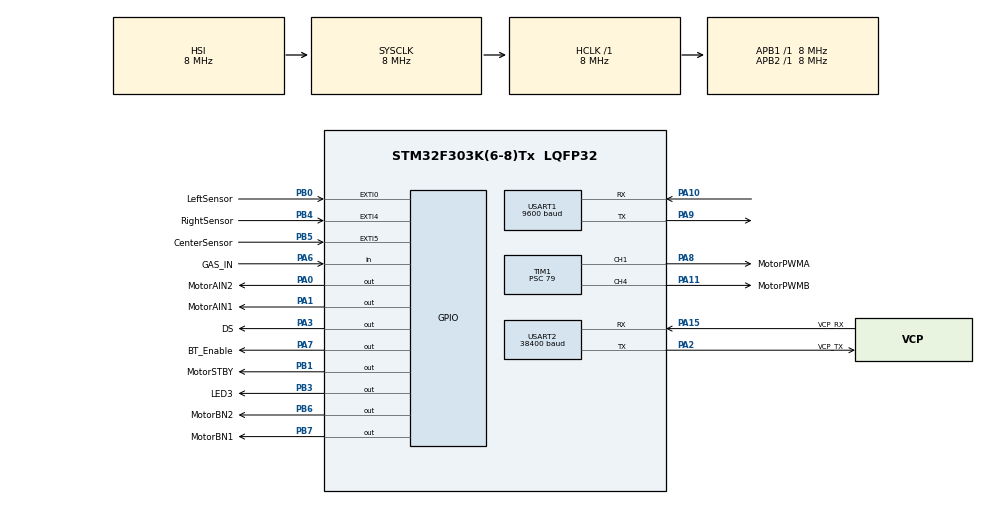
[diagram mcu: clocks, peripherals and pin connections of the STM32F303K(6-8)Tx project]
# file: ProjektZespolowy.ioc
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Dma.Request0=USART1_RX
Dma.USART1_RX.0.Direction=DMA_PERIPH_TO_MEMORY
Dma.USART1_RX.0.Instance=DMA1_Channel5
Dma.USART1_RX.0.MemDataAlignment=DMA_MDATAALIGN_BYTE
Dma.USART1_RX.0.MemInc=DMA_MINC_ENABLE
Dma.USART1_RX.0.Mode=DMA_NORMAL
Dma.USART1_RX.0.PeriphDataAlignment=DMA_PDATAALIGN_BYTE
Dma.USART1_RX.0.PeriphInc=DMA_PINC_DISABLE
Dma.USART1_RX.0.Priority=DMA_PRIORITY_LOW
Mcu.Family=STM32F3
Mcu.Name=STM32F303K(6-8)Tx
Mcu.Package=LQFP32
NVIC.DMA1_Channel5_IRQn=true\:0\:0\:false\:false\:true\:false\:true
NVIC.EXTI0_IRQn=true\:0\:0\:false\:false\:true\:true\:true
NVIC.EXTI4_IRQn=true\:0\:0\:false\:false\:true\:true\:true
NVIC.EXTI9_5_IRQn=true\:0\:0\:false\:false\:true\:true\:true
NVIC.PriorityGroup=NVIC_PRIORITYGROUP_4
NVIC.USART1_IRQn=true\:0\:0\:false\:false\:true\:true\:true
PA0.GPIO_Label=MotorAIN2
PA0.Signal=GPIO_Output
PA1.GPIO_Label=MotorAIN1
PA1.Signal=GPIO_Output
PA10.Mode=Asynchronous
PA10.Signal=USART1_RX
PA11.GPIO_Label=MotorPWMB
PA11.Signal=S_TIM1_CH4
PA13.GPIO_Label=SWDIO
PA13.Mode=Serial_Wire
PA13.Signal=SYS_JTMS-SWDIO
PA14.GPIO_Label=SWCLK
PA14.Mode=Serial_Wire
PA14.Signal=SYS_JTCK-SWCLK
PA15.GPIO_Label=VCP_RX
PA15.Mode=Asynchronous
PA15.Signal=USART2_RX
PA2.GPIO_Label=VCP_TX
PA2.Mode=Asynchronous
PA2.Signal=USART2_TX
PA3.GPIO_Label=DS
PA3.GPIO_ModeDefaultOutputPP=GPIO_MODE_OUTPUT_OD
PA3.PinState=GPIO_PIN_SET
PA3.Signal=GPIO_Output
PA6.GPIO_Label=GAS_IN
PA6.Signal=GPIO_Input
PA7.GPIO_Label=BT_Enable
PA7.GPIO_PuPd=GPIO_PULLUP
PA7.Signal=GPIO_Output
PA8.GPIO_Label=MotorPWMA
PA8.Signal=S_TIM1_CH1
PA9.Mode=Asynchronous
PA9.Signal=USART1_TX
PB0.GPIO_Label=LeftSensor
PB0.GPIO_ModeDefaultEXTI=GPIO_MODE_IT_FALLING
PB0.Signal=GPXTI0
PB1.GPIO_Label=MotorSTBY
PB1.Signal=GPIO_Output
PB3.GPIO_Label=LED3
PB3.Signal=GPIO_Output
PB4.GPIO_Label=RightSensor
PB4.GPIO_ModeDefaultEXTI=GPIO_MODE_IT_FALLING
PB4.Signal=GPXTI4
PB5.GPIO_Label=CenterSensor
PB5.GPIO_ModeDefaultEXTI=GPIO_MODE_IT_FALLING
PB5.Signal=GPXTI5
PB6.GPIO_Label=MotorBN2
PB6.Signal=GPIO_Output
PB7.GPIO_Label=MotorBN1
PB7.Signal=GPIO_Output
PF0\ /\ OSC_IN.GPIO_Label=MCO
PF0\ /\ OSC_IN.Mode=HSE-External-Clock-Source
PF0\ /\ OSC_IN.Signal=RCC_OSC_IN
ProjectManager.HeapSize=0x200
ProjectManager.StackSize=0x400
ProjectManager.TargetToolchain=STM32CubeIDE
RCC.AHBFreq_Value=8000000
RCC.APB1Freq_Value=8000000
RCC.APB2Freq_Value=8000000
RCC.CortexFreq_Value=8000000
RCC.HSE_VALUE=8000000
RCC.HSI_VALUE=8000000
RCC.SYSCLKFreq_VALUE=8000000
SH.S_TIM1_CH1.0=TIM1_CH1,PWM Generation1 CH1
SH.S_TIM1_CH4.0=TIM1_CH4,PWM Generation4 CH4
TIM1.Channel-PWM\ Generation1\ CH1=TIM_CHANNEL_1
TIM1.Channel-PWM\ Generation4\ CH4=TIM_CHANNEL_4
TIM1.Period=999
TIM1.Prescaler=79
TIM6.Period=0
TIM6.Prescaler=7
USART1.BaudRate=9600
USART1.VirtualMode-Asynchronous=VM_ASYNC
USART2.BaudRate=38400
USART2.VirtualMode-Asynchronous=VM_ASYNC
VP_TIM1_VS_ClockSourceINT.Mode=Internal
VP_TIM6_VS_ClockSourceINT.Mode=Enable_Timer
board=NUCLEO-F303K8

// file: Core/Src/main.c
/* USER CODE BEGIN Header */
/**
 ******************************************************************************
 * @file           : main.c
 * @brief          : Main program body
 ******************************************************************************
 * @attention
 *
 * <h2><center>&copy; Copyright (c) 2022 STMicroelectronics.
 * All rights reserved.</center></h2>
 *
 * This software component is licensed by ST under BSD 3-Clause license,
 * the "License"; You may not use this file except in compliance with the
 * License. You may obtain a copy of the License at:
 *                        opensource.org/licenses/BSD-3-Clause
 *
 ******************************************************************************
 */
/* USER CODE END Header */
#include "main.h"

/* USER CODE BEGIN Includes */
#include <stdio.h>
#include <stdlib.h>
#include <string.h>
#include "ds18b20.h"
/* USER CODE END Includes */

/* USER CODE BEGIN PTD */
#define BUFFER_LEN  1
/* USER CODE END PTD */

TIM_HandleTypeDef htim1;
TIM_HandleTypeDef htim6;

UART_HandleTypeDef huart1;
UART_HandleTypeDef huart2;
DMA_HandleTypeDef hdma_usart1_rx;

/* USER CODE BEGIN PV */
volatile int interruptFlag = 0;
volatile int interruptFlagUART = 0;
volatile int pwm_duty = 0;
volatile uint8_t direct = 0;
volatile unsigned int speed = 300;
uint8_t RX_BUFFER[BUFFER_LEN + 1] = { 0 };
float temp;
/* USER CODE END PV */

void SystemClock_Config(void);
static void MX_GPIO_Init(void);
static void MX_DMA_Init(void);
static void MX_USART2_UART_Init(void);
static void MX_TIM1_Init(void);
static void MX_USART1_UART_Init(void);
static void MX_TIM6_Init(void);

/* USER CODE BEGIN 0 */
int _write(int file, char *ptr, int len) {

	HAL_UART_Transmit(&huart2, (uint8_t*) ptr, len, 50);
	return len;
}

void HAL_GPIO_EXTI_Callback(uint16_t GPIO_Pin) {
	if (GPIO_Pin == LeftSensor_Pin || GPIO_Pin == CenterSensor_Pin
			|| GPIO_Pin == RightSensor_Pin) {
		interruptFlag = 1;
	}
}

void HAL_UART_RxCpltCallback(UART_HandleTypeDef *huart) {
	if (huart->Instance == huart1.Instance) {
		interruptFlagUART = 1;
		direct = RX_BUFFER[0];
//		speed = atoi((char*)&RX_BUFFER[2]);
		speed = 200;

		HAL_UART_Receive_DMA(&huart1, RX_BUFFER, BUFFER_LEN);
	}
}

void MotorControler(uint Motor_AIN1, uint Motor_AIN2, uint Motor_BIN1,
		uint Motor_BIN2, int PWMA, int PWMB) {
	HAL_GPIO_WritePin(MotorSTBY_GPIO_Port, MotorSTBY_Pin, GPIO_PIN_SET);
	HAL_GPIO_WritePin(MotorAIN2_GPIO_Port, MotorAIN2_Pin, Motor_AIN2);
	HAL_GPIO_WritePin(MotorAIN1_GPIO_Port, MotorAIN1_Pin, Motor_AIN1);
	HAL_GPIO_WritePin(MotorBN2_GPIO_Port, MotorBN2_Pin, Motor_BIN2);
	HAL_GPIO_WritePin(MotorBN1_GPIO_Port, MotorBN1_Pin, Motor_BIN1);
	__HAL_TIM_SET_COMPARE(&htim1, TIM_CHANNEL_1, PWMA);
	__HAL_TIM_SET_COMPARE(&htim1, TIM_CHANNEL_4, PWMB);
}

int checkLeftObstacle() {
	return HAL_GPIO_ReadPin(LeftSensor_GPIO_Port, LeftSensor_Pin) == 1;
}

int checkRightObstacle() {
	return HAL_GPIO_ReadPin(RightSensor_GPIO_Port, RightSensor_Pin) == 1;

}

int checkCenterObstacle() {
	return HAL_GPIO_ReadPin(CenterSensor_GPIO_Port, CenterSensor_Pin) == 1;

}

//void avoidingObstacle(){
//	MotorControler(1, 0, 1, 0, 300, 300);
//	if((!checkLeftObstacle() && !checkCenterObstacle() && !checkRightObstacle())||(checkLeftObstacle() && !checkCenterObstacle() && checkRightObstacle())){
//		MotorControler(0, 0, 0, 0, 300, 300);
//		HAL_Delay(300);
//		while((!checkLeftObstacle() && !checkCenterObstacle() && !checkRightObstacle())||(checkLeftObstacle() && !checkCenterObstacle() && checkRightObstacle())){
//			MotorControler(0, 1, 0, 1, 300, 300);
//		}
//		MotorControler(1, 0, 0, 1, 500, 500);
//		HAL_Delay(1000);
//	}
//
//	if(checkLeftObstacle() && !checkCenterObstacle() && !checkRightObstacle()){
//		MotorControler(0, 0, 0, 0, 300, 300);
//		HAL_Delay(300);
//		while(checkLeftObstacle() && !checkCenterObstacle() && !checkRightObstacle()){
//			MotorControler(0, 1, 0, 1, 300, 300);
//		}
//		MotorControler(1, 0, 0, 1, 500, 500);
//		HAL_Delay(1000);
//	}
//
//	if(!checkLeftObstacle() && !checkCenterObstacle() && checkRightObstacle()){
//		MotorControler(0, 0, 0, 0, 300, 300);
//		HAL_Delay(300);
//		while(!checkLeftObstacle() && !checkCenterObstacle() && checkRightObstacle()){
//			MotorControler(0, 1, 0, 1, 300, 300);
//		}
//		MotorControler(0, 1, 1, 0, 500, 500);
//		HAL_Delay(1000);
//		}
//
//	if(checkLeftObstacle() && checkCenterObstacle() && !checkRightObstacle()){
//		MotorControler(1, 0, 0, 1, 800, 0);
//		HAL_Delay(20);
//	}
//	if(!checkLeftObstacle() && checkCenterObstacle() && checkRightObstacle()){
//		MotorControler(0, 1, 1, 0, 0, 800);
//		HAL_Delay(20);
//	}
//}

/* USER CODE END 0 */

int main(void)
{

  /* MCU Configuration--------------------------------------------------------*/

  /* Reset of all peripherals, Initializes the Flash interface and the Systick. */
  HAL_Init();

  /* Configure the system clock */
  SystemClock_Config();

  /* Initialize all configured peripherals */
  MX_GPIO_Init();
  MX_DMA_Init();
  MX_USART2_UART_Init();
  MX_TIM1_Init();
  MX_USART1_UART_Init();
  MX_TIM6_Init();
  /* USER CODE BEGIN 2 */
	__HAL_TIM_SET_COMPARE(&htim1, TIM_CHANNEL_1, pwm_duty);
	__HAL_TIM_SET_COMPARE(&htim1, TIM_CHANNEL_4, pwm_duty);
	HAL_TIM_PWM_Start(&htim1, TIM_CHANNEL_1);
	HAL_TIM_PWM_Start(&htim1, TIM_CHANNEL_4);
	HAL_GPIO_WritePin(BT_Enable_GPIO_Port, BT_Enable_Pin, GPIO_PIN_RESET);
	HAL_UART_Receive_DMA(&huart1, RX_BUFFER, BUFFER_LEN);
//  HAL_UART_Receive_IT(&huart1, RX_BUFFER, BUFFER_LEN);

//	uint8_t TX_BUFFER = 0;

//	HAL_TIM_Base_Start(&htim6);
//	if (ds18b20_init() != HAL_OK) {
//		Error_Handler();
//	}

//	uint8_t ds1[DS18B20_ROM_CODE_SIZE];

  /* USER CODE END 2 */

  /* Infinite loop */
  /* USER CODE BEGIN WHILE */
	while (1) {
//		ds18b20_start_measure(NULL);
//		HAL_Delay(10);
//		temp = ds18b20_get_temp(NULL);

		if (interruptFlag == 1) {
			HAL_Delay(10);
			HAL_GPIO_ReadPin(LeftSensor_GPIO_Port, LeftSensor_Pin);
			HAL_GPIO_ReadPin(CenterSensor_GPIO_Port, CenterSensor_Pin);
			HAL_GPIO_ReadPin(RightSensor_GPIO_Port, RightSensor_Pin);
			if (direct == '4') {
				MotorControler(0, 0, 0, 0, 0, 0);
			}
			interruptFlag = 0;

		}

		if (interruptFlagUART == 1) {
			interruptFlagUART = 0;

			HAL_UART_Transmit(&huart2, (uint8_t*) &direct, 1, 100);
			char str[10];
			sprintf(str, " %d\r\n", speed);
			printf(str);

			if (speed < 999 && speed >= 0) {
				switch (direct) {
				case '0':
					MotorControler(0, 0, 0, 0, 0, 0);
					break;
				case '1':
					MotorControler(0, 0, 1, 0, 0, speed);
					break;
				case '2':
					MotorControler(0, 1, 0, 1, speed, speed);
					break;
				case '3':
					MotorControler(1, 0, 0, 0, speed, 0);
					break;
				case '4':
					if (checkCenterObstacle() && checkLeftObstacle() && checkRightObstacle()) {
						MotorControler(1, 0, 1, 0, speed, speed);
					}
				default:
					break;
				}
			}
		}

//		if (HAL_GPIO_ReadPin(GAS_IN_GPIO_Port, GAS_IN_Pin) == GPIO_PIN_RESET) {
//			TX_BUFFER = 0;
//		} else {
//			TX_BUFFER = 1;
//		}
//		HAL_UART_Transmit(&huart1, &TX_BUFFER, 1, 100);

		HAL_Delay(10);
    /* USER CODE END WHILE */

	}
}

void SystemClock_Config(void)
{
  RCC_OscInitTypeDef RCC_OscInitStruct = {0};
  RCC_ClkInitTypeDef RCC_ClkInitStruct = {0};
  RCC_PeriphCLKInitTypeDef PeriphClkInit = {0};

  /** Initializes the RCC Oscillators according to the specified parameters
  * in the RCC_OscInitTypeDef structure.
  */
  RCC_OscInitStruct.OscillatorType = RCC_OSCILLATORTYPE_HSI;
  RCC_OscInitStruct.HSIState = RCC_HSI_ON;
  RCC_OscInitStruct.HSICalibrationValue = RCC_HSICALIBRATION_DEFAULT;
  RCC_OscInitStruct.PLL.PLLState = RCC_PLL_NONE;
  if (HAL_RCC_OscConfig(&RCC_OscInitStruct) != HAL_OK)
  {
    Error_Handler();
  }
  /** Initializes the CPU, AHB and APB buses clocks
  */
  RCC_ClkInitStruct.ClockType = RCC_CLOCKTYPE_HCLK|RCC_CLOCKTYPE_SYSCLK
                              |RCC_CLOCKTYPE_PCLK1|RCC_CLOCKTYPE_PCLK2;
  RCC_ClkInitStruct.SYSCLKSource = RCC_SYSCLKSOURCE_HSI;
  RCC_ClkInitStruct.AHBCLKDivider = RCC_SYSCLK_DIV1;
  RCC_ClkInitStruct.APB1CLKDivider = RCC_HCLK_DIV1;
  RCC_ClkInitStruct.APB2CLKDivider = RCC_HCLK_DIV1;

  if (HAL_RCC_ClockConfig(&RCC_ClkInitStruct, FLASH_LATENCY_0) != HAL_OK)
  {
    Error_Handler();
  }
  PeriphClkInit.PeriphClockSelection = RCC_PERIPHCLK_USART1|RCC_PERIPHCLK_TIM1;
  PeriphClkInit.Usart1ClockSelection = RCC_USART1CLKSOURCE_PCLK1;
  PeriphClkInit.Tim1ClockSelection = RCC_TIM1CLK_HCLK;
  if (HAL_RCCEx_PeriphCLKConfig(&PeriphClkInit) != HAL_OK)
  {
    Error_Handler();
  }
}

static void MX_TIM1_Init(void)
{

  TIM_ClockConfigTypeDef sClockSourceConfig = {0};
  TIM_MasterConfigTypeDef sMasterConfig = {0};
  TIM_OC_InitTypeDef sConfigOC = {0};
  TIM_BreakDeadTimeConfigTypeDef sBreakDeadTimeConfig = {0};

  htim1.Instance = TIM1;
  htim1.Init.Prescaler = 79;
  htim1.Init.CounterMode = TIM_COUNTERMODE_UP;
  htim1.Init.Period = 999;
  htim1.Init.ClockDivision = TIM_CLOCKDIVISION_DIV1;
  htim1.Init.RepetitionCounter = 0;
  htim1.Init.AutoReloadPreload = TIM_AUTORELOAD_PRELOAD_DISABLE;
  if (HAL_TIM_Base_Init(&htim1) != HAL_OK)
  {
    Error_Handler();
  }
  sClockSourceConfig.ClockSource = TIM_CLOCKSOURCE_INTERNAL;
  if (HAL_TIM_ConfigClockSource(&htim1, &sClockSourceConfig) != HAL_OK)
  {
    Error_Handler();
  }
  if (HAL_TIM_PWM_Init(&htim1) != HAL_OK)
  {
    Error_Handler();
  }
  sMasterConfig.MasterOutputTrigger = TIM_TRGO_RESET;
  sMasterConfig.MasterOutputTrigger2 = TIM_TRGO2_RESET;
  sMasterConfig.MasterSlaveMode = TIM_MASTERSLAVEMODE_DISABLE;
  if (HAL_TIMEx_MasterConfigSynchronization(&htim1, &sMasterConfig) != HAL_OK)
  {
    Error_Handler();
  }
  sConfigOC.OCMode = TIM_OCMODE_PWM1;
  sConfigOC.Pulse = 0;
  sConfigOC.OCPolarity = TIM_OCPOLARITY_HIGH;
  sConfigOC.OCNPolarity = TIM_OCNPOLARITY_HIGH;
  sConfigOC.OCFastMode = TIM_OCFAST_DISABLE;
  sConfigOC.OCIdleState = TIM_OCIDLESTATE_RESET;
  sConfigOC.OCNIdleState = TIM_OCNIDLESTATE_RESET;
  if (HAL_TIM_PWM_ConfigChannel(&htim1, &sConfigOC, TIM_CHANNEL_1) != HAL_OK)
  {
    Error_Handler();
  }
  if (HAL_TIM_PWM_ConfigChannel(&htim1, &sConfigOC, TIM_CHANNEL_4) != HAL_OK)
  {
    Error_Handler();
  }
  sBreakDeadTimeConfig.OffStateRunMode = TIM_OSSR_DISABLE;
  sBreakDeadTimeConfig.OffStateIDLEMode = TIM_OSSI_DISABLE;
  sBreakDeadTimeConfig.LockLevel = TIM_LOCKLEVEL_OFF;
  sBreakDeadTimeConfig.DeadTime = 0;
  sBreakDeadTimeConfig.BreakState = TIM_BREAK_DISABLE;
  sBreakDeadTimeConfig.BreakPolarity = TIM_BREAKPOLARITY_HIGH;
  sBreakDeadTimeConfig.BreakFilter = 0;
  sBreakDeadTimeConfig.Break2State = TIM_BREAK2_DISABLE;
  sBreakDeadTimeConfig.Break2Polarity = TIM_BREAK2POLARITY_HIGH;
  sBreakDeadTimeConfig.Break2Filter = 0;
  sBreakDeadTimeConfig.AutomaticOutput = TIM_AUTOMATICOUTPUT_DISABLE;
  if (HAL_TIMEx_ConfigBreakDeadTime(&htim1, &sBreakDeadTimeConfig) != HAL_OK)
  {
    Error_Handler();
  }
  HAL_TIM_MspPostInit(&htim1);

}

static void MX_TIM6_Init(void)
{

  TIM_MasterConfigTypeDef sMasterConfig = {0};

  htim6.Instance = TIM6;
  htim6.Init.Prescaler = 7;
  htim6.Init.CounterMode = TIM_COUNTERMODE_UP;
  htim6.Init.Period = 0;
  htim6.Init.AutoReloadPreload = TIM_AUTORELOAD_PRELOAD_DISABLE;
  if (HAL_TIM_Base_Init(&htim6) != HAL_OK)
  {
    Error_Handler();
  }
  sMasterConfig.MasterOutputTrigger = TIM_TRGO_RESET;
  sMasterConfig.MasterSlaveMode = TIM_MASTERSLAVEMODE_DISABLE;
  if (HAL_TIMEx_MasterConfigSynchronization(&htim6, &sMasterConfig) != HAL_OK)
  {
    Error_Handler();
  }

}

static void MX_USART1_UART_Init(void)
{

  huart1.Instance = USART1;
  huart1.Init.BaudRate = 9600;
  huart1.Init.WordLength = UART_WORDLENGTH_8B;
  huart1.Init.StopBits = UART_STOPBITS_1;
  huart1.Init.Parity = UART_PARITY_NONE;
  huart1.Init.Mode = UART_MODE_TX_RX;
  huart1.Init.HwFlowCtl = UART_HWCONTROL_NONE;
  huart1.Init.OverSampling = UART_OVERSAMPLING_16;
  huart1.Init.OneBitSampling = UART_ONE_BIT_SAMPLE_DISABLE;
  huart1.AdvancedInit.AdvFeatureInit = UART_ADVFEATURE_NO_INIT;
  if (HAL_UART_Init(&huart1) != HAL_OK)
  {
    Error_Handler();
  }

}

static void MX_USART2_UART_Init(void)
{

  huart2.Instance = USART2;
  huart2.Init.BaudRate = 38400;
  huart2.Init.WordLength = UART_WORDLENGTH_8B;
  huart2.Init.StopBits = UART_STOPBITS_1;
  huart2.Init.Parity = UART_PARITY_NONE;
  huart2.Init.Mode = UART_MODE_TX_RX;
  huart2.Init.HwFlowCtl = UART_HWCONTROL_NONE;
  huart2.Init.OverSampling = UART_OVERSAMPLING_16;
  huart2.Init.OneBitSampling = UART_ONE_BIT_SAMPLE_DISABLE;
  huart2.AdvancedInit.AdvFeatureInit = UART_ADVFEATURE_NO_INIT;
  if (HAL_UART_Init(&huart2) != HAL_OK)
  {
    Error_Handler();
  }

}

static void MX_DMA_Init(void)
{

  /* DMA controller clock enable */
  __HAL_RCC_DMA1_CLK_ENABLE();

  /* DMA interrupt init */
  /* DMA1_Channel5_IRQn interrupt configuration */
  HAL_NVIC_SetPriority(DMA1_Channel5_IRQn, 0, 0);
  HAL_NVIC_EnableIRQ(DMA1_Channel5_IRQn);

}

static void MX_GPIO_Init(void)
{
  GPIO_InitTypeDef GPIO_InitStruct = {0};

  /* GPIO Ports Clock Enable */
  __HAL_RCC_GPIOF_CLK_ENABLE();
  __HAL_RCC_GPIOA_CLK_ENABLE();
  __HAL_RCC_GPIOB_CLK_ENABLE();

  /*Configure GPIO pin Output Level */
  HAL_GPIO_WritePin(GPIOA, MotorAIN2_Pin|MotorAIN1_Pin|BT_Enable_Pin, GPIO_PIN_RESET);

  /*Configure GPIO pin Output Level */
  HAL_GPIO_WritePin(DS_GPIO_Port, DS_Pin, GPIO_PIN_SET);

  /*Configure GPIO pin Output Level */
  HAL_GPIO_WritePin(GPIOB, MotorSTBY_Pin|LED3_Pin|MotorBN2_Pin|MotorBN1_Pin, GPIO_PIN_RESET);

  /*Configure GPIO pins : MotorAIN2_Pin MotorAIN1_Pin */
  GPIO_InitStruct.Pin = MotorAIN2_Pin|MotorAIN1_Pin;
  GPIO_InitStruct.Mode = GPIO_MODE_OUTPUT_PP;
  GPIO_InitStruct.Pull = GPIO_NOPULL;
  GPIO_InitStruct.Speed = GPIO_SPEED_FREQ_LOW;
  HAL_GPIO_Init(GPIOA, &GPIO_InitStruct);

  /*Configure GPIO pin : DS_Pin */
  GPIO_InitStruct.Pin = DS_Pin;
  GPIO_InitStruct.Mode = GPIO_MODE_OUTPUT_OD;
  GPIO_InitStruct.Pull = GPIO_NOPULL;
  GPIO_InitStruct.Speed = GPIO_SPEED_FREQ_LOW;
  HAL_GPIO_Init(DS_GPIO_Port, &GPIO_InitStruct);

  /*Configure GPIO pin : GAS_IN_Pin */
  GPIO_InitStruct.Pin = GAS_IN_Pin;
  GPIO_InitStruct.Mode = GPIO_MODE_INPUT;
  GPIO_InitStruct.Pull = GPIO_NOPULL;
  HAL_GPIO_Init(GAS_IN_GPIO_Port, &GPIO_InitStruct);

  /*Configure GPIO pin : BT_Enable_Pin */
  GPIO_InitStruct.Pin = BT_Enable_Pin;
  GPIO_InitStruct.Mode = GPIO_MODE_OUTPUT_PP;
  GPIO_InitStruct.Pull = GPIO_PULLUP;
  GPIO_InitStruct.Speed = GPIO_SPEED_FREQ_LOW;
  HAL_GPIO_Init(BT_Enable_GPIO_Port, &GPIO_InitStruct);

  /*Configure GPIO pins : LeftSensor_Pin RightSensor_Pin CenterSensor_Pin */
  GPIO_InitStruct.Pin = LeftSensor_Pin|RightSensor_Pin|CenterSensor_Pin;
  GPIO_InitStruct.Mode = GPIO_MODE_IT_FALLING;
  GPIO_InitStruct.Pull = GPIO_NOPULL;
  HAL_GPIO_Init(GPIOB, &GPIO_InitStruct);

  /*Configure GPIO pins : MotorSTBY_Pin LED3_Pin MotorBN2_Pin MotorBN1_Pin */
  GPIO_InitStruct.Pin = MotorSTBY_Pin|LED3_Pin|MotorBN2_Pin|MotorBN1_Pin;
  GPIO_InitStruct.Mode = GPIO_MODE_OUTPUT_PP;
  GPIO_InitStruct.Pull = GPIO_NOPULL;
  GPIO_InitStruct.Speed = GPIO_SPEED_FREQ_LOW;
  HAL_GPIO_Init(GPIOB, &GPIO_InitStruct);

  /* EXTI interrupt init*/
  HAL_NVIC_SetPriority(EXTI0_IRQn, 0, 0);
  HAL_NVIC_EnableIRQ(EXTI0_IRQn);

  HAL_NVIC_SetPriority(EXTI4_IRQn, 0, 0);
  HAL_NVIC_EnableIRQ(EXTI4_IRQn);

  HAL_NVIC_SetPriority(EXTI9_5_IRQn, 0, 0);
  HAL_NVIC_EnableIRQ(EXTI9_5_IRQn);

}

void Error_Handler(void)
{
}

/************************ (C) COPYRIGHT STMicroelectronics *****END OF FILE****/
